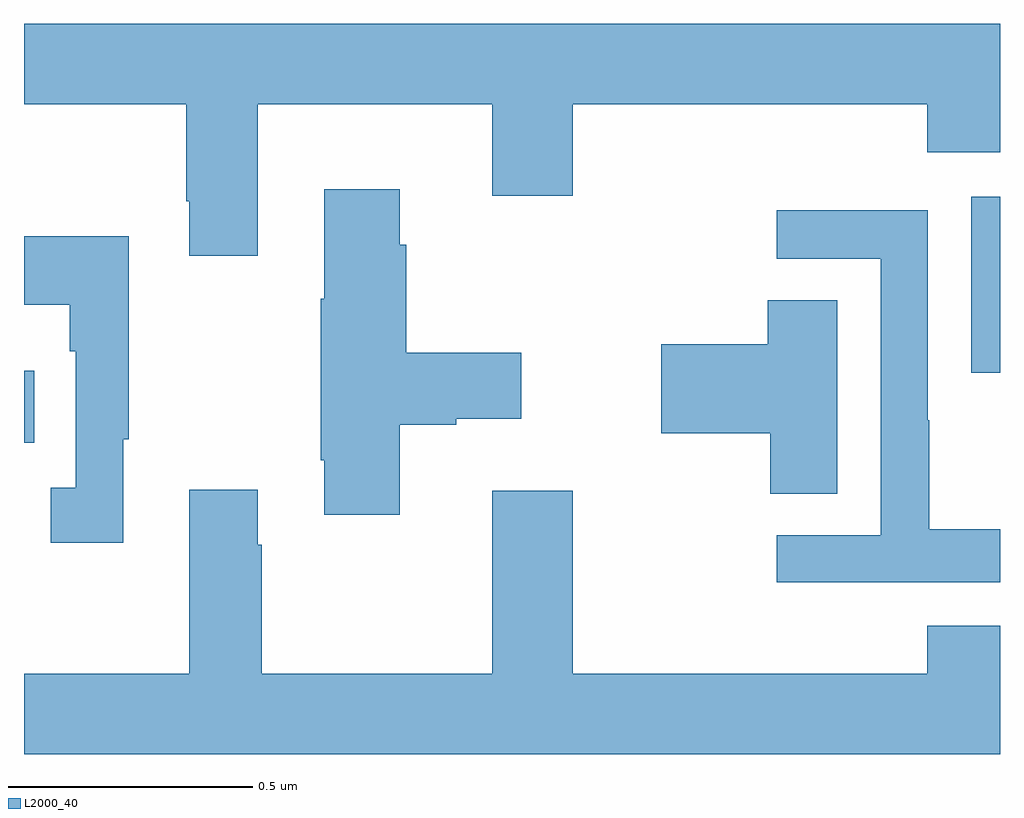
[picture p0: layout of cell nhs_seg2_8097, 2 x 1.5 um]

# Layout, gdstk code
import gdstk
lib = gdstk.Library(unit=1e-6, precision=1e-09)
def R(c, l, rs):  # rectangles x0, y0, x1, y1
    for r in rs: c.add(gdstk.rectangle(r[:2], r[2:], *l))
def P(c, l, *ps):  # polygons
    for p in ps: c.add(gdstk.Polygon(p, *l))
L2000_40 = (2000, 40)

nhs_seg2_8097 = lib.new_cell('nhs_seg2_8097')
R(nhs_seg2_8097, L2000_40, [(212,637.618,212.021,637.765), (213.941,637.761,214,638.122)])
P(nhs_seg2_8097, L2000_40, [(212.479,638.312),(212.96,638.312),(212.96,638.124),(213.124,638.124),(213.124,638.312),(213.851,638.312),(213.851,638.213),(214,638.213),(214,638.476),(212,638.476),(212,638.312),(212.332,638.312),(212.332,638.113),(212.339,638.113),(212.339,638.001),(212.479,638.001)],
  [(212.77,637.655),(212.886,637.655),(212.886,637.667),(213.019,637.667),(213.019,637.802),(212.783,637.802),(212.783,638.024),(212.77,638.024),(212.77,638.137),(212.615,638.137),(212.615,637.913),(212.608,637.913),(212.608,637.582),(212.615,637.582),(212.615,637.47),(212.77,637.47)],
  [(214,637.441),(213.855,637.441),(213.855,637.664),(213.852,637.664),(213.852,638.094),(213.543,638.094),(213.543,637.995),(213.756,637.995),(213.756,637.428),(213.543,637.428),(213.543,637.332),(214,637.332)],
  [(212.203,637.625),(212.215,637.625),(212.215,638.041),(212,638.041),(212,637.901),(212.094,637.901),(212.094,637.805),(212.106,637.805),(212.106,637.526),(212.055,637.526),(212.055,637.413),(212.203,637.413)],
  [(213.667,637.91),(213.524,637.91),(213.524,637.82),(213.306,637.82),(213.306,637.637),(213.529,637.637),(213.529,637.513),(213.667,637.513)],
  [(214,637.243),(213.851,637.243),(213.851,637.144),(213.124,637.144),(213.124,637.519),(212.96,637.519),(212.96,637.144),(212.487,637.144),(212.487,637.409),(212.479,637.409),(212.479,637.522),(212.339,637.522),(212.339,637.144),(212,637.144),(212,636.98),(214,636.98)])

lib.write_gds('nhs_seg2_8097.gds')
